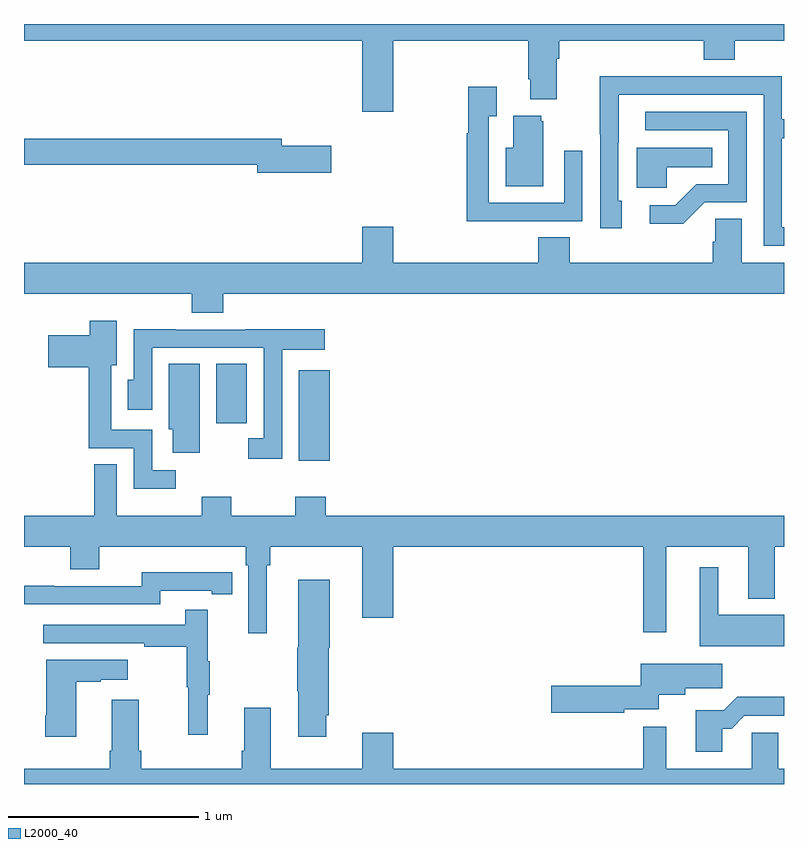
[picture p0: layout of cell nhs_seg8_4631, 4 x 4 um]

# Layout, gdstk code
import gdstk
lib = gdstk.Library(unit=1e-6, precision=1e-09)
def R(c, l, rs):  # rectangles x0, y0, x1, y1
    for r in rs: c.add(gdstk.rectangle(r[:2], r[2:], *l))
def P(c, l, *ps):  # polygons
    for p in ps: c.add(gdstk.Polygon(p, *l))
L2000_40 = (2000, 40)

nhs_seg8_4631 = lib.new_cell('nhs_seg8_4631')
R(nhs_seg8_4631, L2000_40, [(392.447,1135.602,392.608,1136.077), (392.012,1135.8,392.173,1136.111)])
P(nhs_seg8_4631, L2000_40, [(392.944,1137.812),(393.653,1137.812),(393.653,1137.61),(393.665,1137.61),(393.665,1137.503),(393.805,1137.503),(393.805,1137.716),(393.818,1137.716),(393.818,1137.812),(394.577,1137.812),(394.577,1137.713),(394.742,1137.713),(394.742,1137.812),(395,1137.812),(395,1137.9),(391,1137.9),(391,1137.812),(392.78,1137.812),(392.78,1137.438),(392.944,1137.438)],
  [(395,1136.829),(394.989,1136.829),(394.989,1137.298),(395,1137.298),(395,1137.399),(394.989,1137.399),(394.989,1137.624),(394.493,1137.624),(394.493,1137.626),(394.03,1137.626),(394.03,1137.319),(394.032,1137.319),(394.032,1136.826),(394.147,1136.826),(394.147,1136.97),(394.128,1136.97),(394.128,1137.274),(394.129,1137.274),(394.129,1137.528),(394.893,1137.528),(394.893,1136.733),(395,1136.733)],
  [(393.623,1136.862),(393.939,1136.862),(393.939,1137.232),(393.843,1137.232),(393.843,1136.958),(393.447,1136.958),(393.447,1137.415),(393.487,1137.415),(393.487,1137.571),(393.339,1137.571),(393.339,1137.326),(393.331,1137.326),(393.331,1136.861),(393.623,1136.861)],
  [(394.584,1136.961),(394.803,1136.961),(394.803,1137.438),(394.269,1137.438),(394.269,1137.342),(394.707,1137.342),(394.707,1137.057),(394.538,1137.057),(394.427,1136.946),(394.293,1136.946),(394.293,1136.849),(394.471,1136.849)],
  [(393.733,1137.387),(393.722,1137.387),(393.722,1137.418),(393.575,1137.418),(393.575,1137.25),(393.536,1137.25),(393.536,1137.047),(393.733,1137.047)],
  [(392.617,1137.26),(392.356,1137.26),(392.356,1137.296),(391,1137.296),(391,1137.16),(392.228,1137.16),(392.228,1137.118),(392.617,1137.118)],
  [(394.383,1137.146),(394.622,1137.146),(394.622,1137.25),(394.226,1137.25),(394.226,1137.038),(394.383,1137.038)],
  [(392.048,1136.48),(395,1136.48),(395,1136.644),(394.777,1136.644),(394.777,1136.876),(394.638,1136.876),(394.638,1136.753),(394.625,1136.753),(394.625,1136.644),(393.872,1136.644),(393.872,1136.777),(393.707,1136.777),(393.707,1136.644),(392.944,1136.644),(392.944,1136.833),(392.78,1136.833),(392.78,1136.644),(391,1136.644),(391,1136.48),(391.883,1136.48),(391.883,1136.381),(392.048,1136.381)],
  [(391.798,1135.551),(391.674,1135.551),(391.674,1135.764),(391.459,1135.764),(391.459,1136.105),(391.489,1136.105),(391.489,1136.338),(391.346,1136.338),(391.346,1136.263),(391.128,1136.263),(391.128,1136.093),(391.341,1136.093),(391.341,1135.668),(391.578,1135.668),(391.578,1135.454),(391.798,1135.454)],
  [(392.358,1136.186),(392.584,1136.186),(392.584,1136.294),(392.165,1136.294),(392.165,1136.292),(391.799,1136.292),(391.799,1136.294),(391.578,1136.294),(391.578,1136.028),(391.547,1136.028),(391.547,1135.869),(391.674,1135.869),(391.674,1136.196),(392.262,1136.196),(392.262,1135.719),(392.181,1135.719),(392.181,1135.611),(392.358,1135.611)],
  [(391.924,1136.111),(391.763,1136.111),(391.763,1135.767),(391.784,1135.767),(391.784,1135.644),(391.924,1135.644)],
  [(392.278,1135.052),(392.297,1135.052),(392.297,1135.148),(392.78,1135.148),(392.78,1134.774),(392.944,1134.774),(392.944,1135.148),(394.26,1135.148),(394.26,1134.699),(394.381,1134.699),(394.381,1135.148),(394.811,1135.148),(394.811,1134.875),(394.951,1134.875),(394.951,1135.148),(395,1135.148),(395,1135.312),(392.588,1135.312),(392.588,1135.411),(392.428,1135.411),(392.428,1135.312),(392.091,1135.312),(392.091,1135.411),(391.936,1135.411),(391.936,1135.312),(391.489,1135.312),(391.489,1135.583),(391.371,1135.583),(391.371,1135.312),(391,1135.312),(391,1135.148),(391.244,1135.148),(391.244,1135.031),(391.396,1135.031),(391.396,1135.148),(392.168,1135.148),(392.168,1135.052),(392.181,1135.052),(392.181,1134.693),(392.278,1134.693)],
  [(395,1134.79),(394.654,1134.79),(394.654,1135.042),(394.556,1135.042),(394.556,1134.626),(395,1134.626)],
  [(391.716,1134.918),(391.988,1134.918),(391.988,1134.898),(392.096,1134.898),(392.096,1135.014),(391.988,1135.014),(391.988,1135.015),(391.62,1135.015),(391.62,1134.942),(391.16,1134.942),(391.16,1134.944),(391,1134.944),(391,1134.846),(391.716,1134.846)],
  [(392.59,1134.262),(392.603,1134.262),(392.603,1134.618),(392.608,1134.618),(392.608,1134.976),(392.444,1134.976),(392.444,1134.618),(392.437,1134.618),(392.437,1134.388),(392.444,1134.388),(392.444,1134.15),(392.59,1134.15)],
  [(391.967,1134.371),(391.978,1134.371),(391.978,1134.545),(391.967,1134.545),(391.967,1134.817),(391.849,1134.817),(391.849,1134.738),(391.101,1134.738),(391.101,1134.642),(391.633,1134.642),(391.633,1134.622),(391.857,1134.622),(391.857,1134.408),(391.864,1134.408),(391.864,1134.159),(391.967,1134.159)],
  [(391.276,1134.439),(391.403,1134.439),(391.403,1134.449),(391.546,1134.449),(391.546,1134.553),(391.118,1134.553),(391.118,1134.262),(391.111,1134.262),(391.111,1134.15),(391.276,1134.15)],
  [(394.158,1134.293),(394.341,1134.293),(394.341,1134.371),(394.48,1134.371),(394.48,1134.403),(394.675,1134.403),(394.675,1134.532),(394.245,1134.532),(394.245,1134.416),(393.774,1134.416),(393.774,1134.274),(394.158,1134.274)],
  [(394.675,1134.191),(394.724,1134.191),(394.791,1134.258),(395,1134.258),(395,1134.359),(394.754,1134.359),(394.684,1134.289),(394.535,1134.289),(394.535,1134.069),(394.675,1134.069)],
  [(395,1133.98),(394.969,1133.98),(394.969,1134.17),(394.83,1134.17),(394.83,1133.98),(394.381,1133.98),(394.381,1134.202),(394.26,1134.202),(394.26,1133.98),(392.944,1133.98),(392.944,1134.169),(392.78,1134.169),(392.78,1133.98),(392.299,1133.98),(392.299,1134.301),(392.159,1134.301),(392.159,1134.076),(392.147,1134.076),(392.147,1133.98),(391.616,1133.98),(391.616,1134.076),(391.603,1134.076),(391.603,1134.343),(391.463,1134.343),(391.463,1134.076),(391.451,1134.076),(391.451,1133.98),(391,1133.98),(391,1133.9),(395,1133.9)])

lib.write_gds('nhs_seg8_4631.gds')
